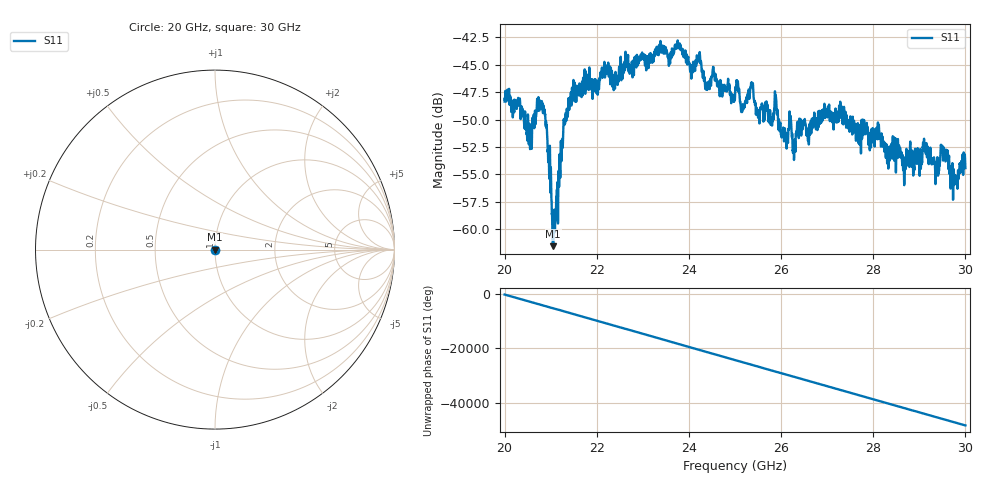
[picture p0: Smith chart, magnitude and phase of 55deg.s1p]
#  HZ  S  RI  R  50.00
! Rohde & Schwarz ZVA40 4Ports - Version 3.90 - 1145.1110k42 SN: 100403
! Date: 2023-10-03 12:02:56
! Measurement: S12
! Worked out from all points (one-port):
!   5001 points, 20 GHz to 30 GHz, reference 50 ohm
!   lowest |S11| = -61.6 dB at 21.05 GHz (marker M1), VSWR 1.00, Z = 49.9 - j0.0262 ohm
!   |S11| at or under -10 dB: start of sweep to end of sweep
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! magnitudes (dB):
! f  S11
! 20 GHz  -48.4
! 20.29 GHz  -48.3
! 20.54 GHz  -50.6
! 20.82 GHz  -48.9
! 20.94 GHz  -52.8
! 21.05 GHz  -61.6
! 21.09 GHz  -58.9
! 21.25 GHz  -52.2
! 21.48 GHz  -48.3
! 22.5 GHz  -45.3
! 23.75 GHz  -43.2
! 24.22 GHz  -44.5
! 24.4 GHz  -47.2
! 25 GHz  -48.0
! 25.17 GHz  -48.6
! 25.37 GHz  -46.6
! 25.49 GHz  -49.2
! 25.77 GHz  -50.1
! 25.89 GHz  -47.9
! 26.25 GHz  -52.7
! 26.98 GHz  -49.3
! 27.5 GHz  -49.9
! 28.75 GHz  -53.0
! 29.13 GHz  -52.7
! 29.39 GHz  -53.5
! 29.51 GHz  -53.0
! 29.78 GHz  -55.1
! 30 GHz  -54.4
